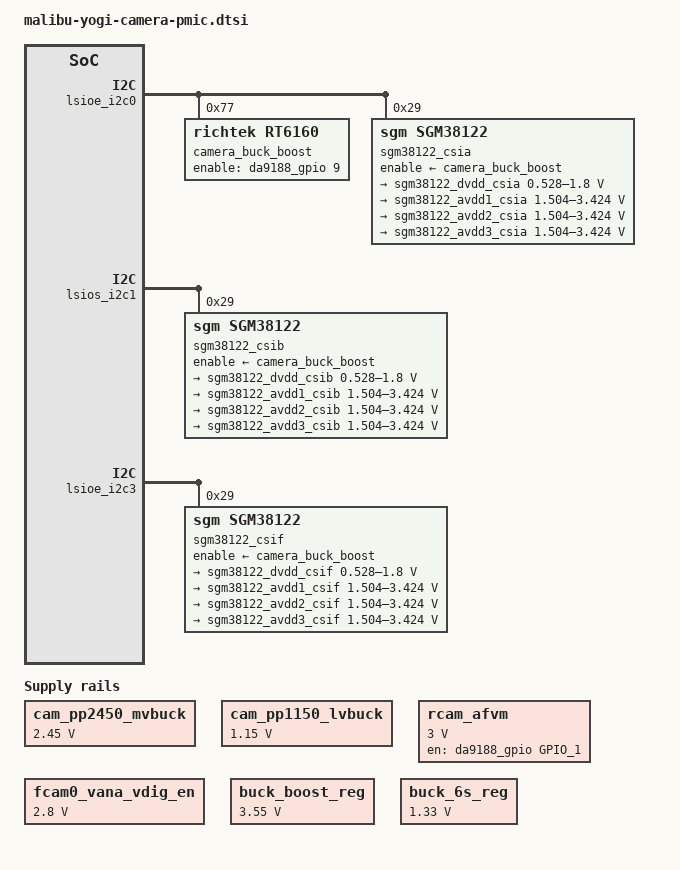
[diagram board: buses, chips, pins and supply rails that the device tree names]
// SPDX-License-Identifier: GPL-2.0-only
/*
 * camera PMIC device tree for MBU device
 *
 * Copyright 2025 Google LLC.
 *
 */

/ {
	fragment@cam_supply {
		target-path = "/";
		__overlay__ {
			/* SN62088AYFPR */
			cam_pp2450_mvbuck: rcam_supply@0 {
				compatible = "regulator-fixed";
				status = "okay";
				regulator-name = "PP2450_CAM";
				regulator-min-microvolt = <2450000>;
				regulator-max-microvolt = <2450000>;
				/* 1.25ms */
				regulator-enable-ramp-delay = <1250>;
				enable-active-high;
				/* MVBUCK_EN */
				gpio = <PMICS2CAM_MVBUCK_EN(GPIO_ACTIVE_HIGH)>;
			};

			/* MAX77324GEWTAD+T */
			cam_pp1150_lvbuck: rcam_supply@1 {
				compatible = "regulator-fixed";
				status = "okay";
				regulator-name = "PP1150_CAM";
				regulator-min-microvolt = <1150000>;
				regulator-max-microvolt = <1150000>;
				/* 1ms */
				regulator-enable-ramp-delay = <1000>;
				enable-active-high;
				/* VDIG_EN */
				gpio = <PMICM2RCAM_VDIG_EN(GPIO_ACTIVE_HIGH)>;
			};

			/* TPS7A2030PDQNR */
			rcam_afvm: rcam_supply@2 {
				compatible = "regulator-fixed";
				status = "okay";
				regulator-name = "PP3000_AF_VM_RCAM";
				regulator-min-microvolt = <3000000>;
				regulator-max-microvolt = <3000000>;
				/* 1.15ms */
				regulator-enable-ramp-delay = <1150>;
				enable-active-high;
				/* PMICM2RCAM_AF_VM_EN */
				gpio = <&da9188_gpio GPIO_1 GPIO_ACTIVE_HIGH>;
			};

			/* TPS7A2028PDQNR */
			fcam0_vana_vdig_en: fcam0_supply@0 {
				compatible = "regulator-fixed";
				status = "okay";
				regulator-name = "FCAM0_VANA_VDIG_EN";
				regulator-min-microvolt = <2800000>;
				regulator-max-microvolt = <2800000>;
				/* 1.15ms */
				regulator-enable-ramp-delay = <1150>;
				enable-active-high;
				/* FCAM0_VANA_VDIG_EN */
				gpio = <PMICS2FCAM0_VANA_VDIG_EN(GPIO_ACTIVE_HIGH)>;
			};
		};
	};
};

&buck_boost_reg {
	regulator-min-microvolt = <3550000>;
	regulator-max-microvolt = <3550000>;
};
&buck_6s_reg {
	regulator-min-microvolt = <1330000>;
	regulator-max-microvolt = <1330000>;
};

&lsioe_i2c0 {
	camera_buck_boost: rt6166@77 {
		compatible = "richtek,rt6160";
		reg = <0x77>;
		/* PMICS2CAM_BBPMIC_E */
		enable-gpios = <&da9188_gpio 9 GPIO_ACTIVE_HIGH>;
		status = "ok";
		regulator-name = "rt6166-regulator";
		regulator-min-microvolt = <3200000>;
		regulator-max-microvolt = <3200000>;
		regulator-always-on;
		/* 2ms */
		regulator-enable-ramp-delay = <2000>;
		/* RT6160_MODE_AUTO */
		regulator-initial-mode = <0x0>;
		/* Allow for NORMAL (auto) and FAST (FPWM) mode */
		regulator-allowed-modes = <0x0>, <0x1>;
	};

	sgm38122_csia: sgm38122@29 {
		compatible = "sgm,sgm38122";
		reg = <0x29>;
		enable-supply = <&camera_buck_boost>;
		status = "ok";

		regulators {
			sgm38122_dvdd_csia: dvdd {
				regulator-name = "dvdd";
				regulator-min-microvolt = <528000>;
				regulator-max-microvolt = <1800000>;
				in1-supply = <&cam_pp1150_lvbuck>;
			};

			sgm38122_avdd1_csia: avdd1 {
				regulator-name = "avdd1";
				regulator-min-microvolt = <1504000>;
				regulator-max-microvolt = <3424000>;
				in2-supply = <&camera_buck_boost>;
			};

			sgm38122_avdd2_csia: avdd2 {
				regulator-name = "avdd2";
				regulator-min-microvolt = <1504000>;
				regulator-max-microvolt = <3424000>;
				in2-supply = <&camera_buck_boost>;
			};

			sgm38122_avdd3_csia: avdd3 {
				regulator-name = "avdd3";
				regulator-min-microvolt = <1504000>;
				regulator-max-microvolt = <3424000>;
				in3-supply = <&cam_pp2450_mvbuck>;
			};
		};
	};
};

&lsios_i2c1 {

	sgm38122_csib: sgm38122@29 {
		compatible = "sgm,sgm38122";
		reg = <0x29>;
		enable-supply = <&camera_buck_boost>;
		status = "ok";

		regulators {
			sgm38122_dvdd_csib: dvdd {
				regulator-name = "dvdd";
				regulator-min-microvolt = <528000>;
				regulator-max-microvolt = <1800000>;
				in1-supply = <&cam_pp1150_lvbuck>;
			};

			sgm38122_avdd1_csib: avdd1 {
				regulator-name = "avdd1";
				regulator-min-microvolt = <1504000>;
				regulator-max-microvolt = <3424000>;
				in2-supply = <&buck_boost_reg>;
			};

			sgm38122_avdd2_csib: avdd2 {
				regulator-name = "avdd2";
				regulator-min-microvolt = <1504000>;
				regulator-max-microvolt = <3424000>;
				in2-supply = <&buck_boost_reg>;
			};

			sgm38122_avdd3_csib: avdd3 {
				regulator-name = "avdd3";
				regulator-min-microvolt = <1504000>;
				regulator-max-microvolt = <3424000>;
				in3-supply = <&cam_pp2450_mvbuck>;
			};
		};
	};
};

&lsioe_i2c3 {

	sgm38122_csif: sgm38122@29 {
		compatible = "sgm,sgm38122";
		reg = <0x29>;
		enable-supply = <&camera_buck_boost>;
		status = "ok";

		regulators {
			sgm38122_dvdd_csif: dvdd {
				regulator-name = "dvdd";
				regulator-min-microvolt = <528000>;
				regulator-max-microvolt = <1800000>;
				in1-supply = <&buck_6s_reg>;
			};

			sgm38122_avdd1_csif: avdd1 {
				regulator-name = "avdd1";
				regulator-min-microvolt = <1504000>;
				regulator-max-microvolt = <3424000>;
				in2-supply = <&camera_buck_boost>;
			};

			sgm38122_avdd2_csif: avdd2 {
				regulator-name = "avdd2";
				regulator-min-microvolt = <1504000>;
				regulator-max-microvolt = <3424000>;
				in2-supply = <&camera_buck_boost>;
			};

			sgm38122_avdd3_csif: avdd3 {
				regulator-name = "avdd3";
				regulator-min-microvolt = <1504000>;
				regulator-max-microvolt = <3424000>;
				in3-supply = <&camera_buck_boost>;
			};
		};
	};
};
